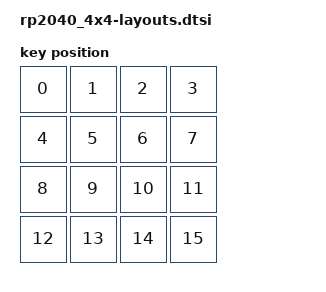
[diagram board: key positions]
// See https://zmk.dev/docs/development/hardware-integration/physical-layouts
// for how to configure this.

#include <physical_layouts.dtsi>

/ {
    default_layout: default_layout {
        compatible = "zmk,physical-layout";
        display-name = "Default Layout";
        transform = <&default_transform>;
        kscan = <&kscan>;

        // Edit this to define the positions and sizes of the keys, or remove it
        // if your keyboard will not support ZMK Studio.
        // https://zmk.dev/docs/development/hardware-integration/physical-layouts#optional-keys-property

        /* Each key is 100x100 units, arranged in 4 rows and 4 columns */
        keys
            = <&key_physical_attrs 100 100   0    0   0 0 0>   /* Row 0, Col 0 */
            , <&key_physical_attrs 100 100 100    0   0 0 0>   /* Row 0, Col 1 */
            , <&key_physical_attrs 100 100 200    0   0 0 0>   /* Row 0, Col 2 */
            , <&key_physical_attrs 100 100 300    0   0 0 0>   /* Row 0, Col 3 */
            , <&key_physical_attrs 100 100   0  100  0 0 0>   /* Row 1, Col 0 */
            , <&key_physical_attrs 100 100 100  100  0 0 0>
            , <&key_physical_attrs 100 100 200  100  0 0 0>
            , <&key_physical_attrs 100 100 300  100  0 0 0>
            , <&key_physical_attrs 100 100   0  200  0 0 0>   /* Row 2, Col 0 */
            , <&key_physical_attrs 100 100 100  200  0 0 0>
            , <&key_physical_attrs 100 100 200  200  0 0 0>
            , <&key_physical_attrs 100 100 300  200  0 0 0>
            , <&key_physical_attrs 100 100   0  300  0 0 0>   /* Row 3, Col 0 */
            , <&key_physical_attrs 100 100 100  300  0 0 0>
            , <&key_physical_attrs 100 100 200  300  0 0 0>
            , <&key_physical_attrs 100 100 300  300  0 0 0>
            ;
    };
};

